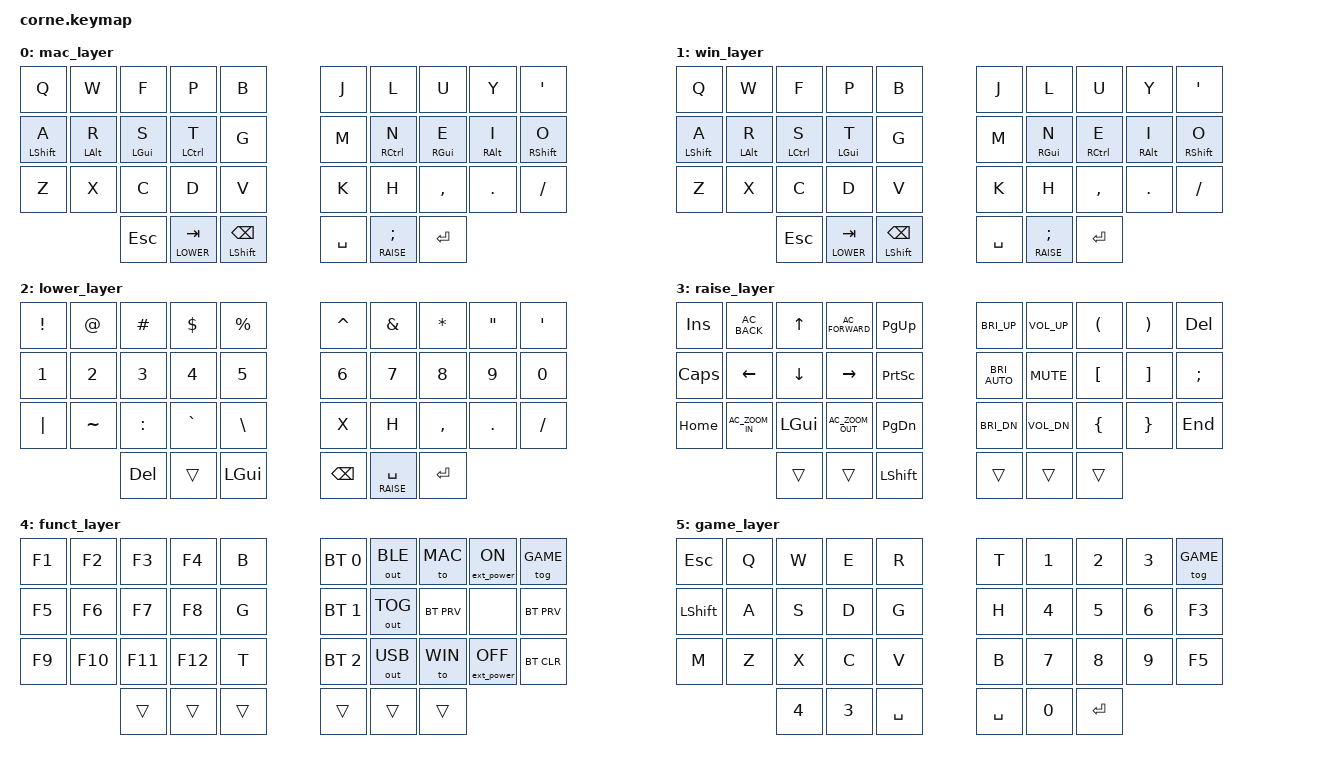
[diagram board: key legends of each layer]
/*
 * Copyright (c) 2020 The ZMK Contributors
 *
 * SPDX-License-Identifier: MIT
 */

#include <behaviors.dtsi>
#include <dt-bindings/zmk/keys.h>
#include <dt-bindings/zmk/bt.h>
#include <dt-bindings/zmk/outputs.h>
#include <dt-bindings/zmk/ext_power.h>

#define COMBO_TIMEOUT 60
#define FAST_COMBO_TIMEOUT 35
// layers
#define MAC   0
#define WIN   1
#define LOWER 2
#define RAISE 3
#define FUNCT 4
#define GAME  5

&mt {
  compatible = "zmk,behavior-hold-tap";
  tapping-term-ms = <100>;
  quick_tap_ms = <200>;
  flavor = "balanced";
};

&lt {
  compatible = "zmk,behavior-hold-tap";
  tapping-term-ms = <125>;
  quick_tap_ms = <200>;
  flavor = "balanced";
};
/ {
  chosen {
    zmk,matrix_transform = &five_column_transform;
  };
};
/ {
    conditional_layers {
        compatible = "zmk,conditional-layers";
        tri_layer {
            if-layers = <LOWER RAISE>;
            then-layer = <FUNCT>;
        };
    };
    behaviors {
        gt_gte: greater_than_gt_equal {
            compatible = "zmk,behavior-mod-morph";
            label = "GT_GTE";
            #binding-cells = <0>;
            bindings = <&kp GT>, <&gte>;
            mods = <(MOD_LSFT|MOD_RSFT)>;
        };
        lt_lte: less_than_lt_equal {
            compatible = "zmk,behavior-mod-morph";
            label = "LT_LTE";
            #binding-cells = <0>;
            bindings = <&kp LT>, <&lte>;
            mods = <(MOD_LSFT|MOD_RSFT)>;
        };
        eq_neq: equal_not_equal {
            compatible = "zmk,behavior-mod-morph";
            label = "EQ_NEQ";
            #binding-cells = <0>;
            bindings = <&kp EQUAL>, <&neq>;
            mods =  <(MOD_LSFT|MOD_RSFT)>;
        };
    };
};
/ {
    macros {
        snap_left: snap_left {
            label = "snap_window_left";
            compatible = "zmk,behavior-macro";
            #binding-cells = <0>;
            bindings
                = <&macro_press &kp LALT>
                , <&macro_press &kp LGUI>
                , <&macro_tap &kp LEFT>
                , <&macro_release &kp LALT>
                , <&macro_release &kp LGUI>
                ;
        };
        snap_right: snap_right {
            label = "snap_window_right";
            compatible = "zmk,behavior-macro";
            #binding-cells = <0>;
            bindings
                = <&macro_press &kp LALT>
                , <&macro_press &kp LGUI>
                , <&macro_tap &kp RIGHT>
                , <&macro_release &kp LALT>
                , <&macro_release &kp LGUI>
                ;
        };
        desktop_left: desktop_left {
            label = "go_desk_left";
            compatible = "zmk,behavior-macro";
            #binding-cells = <0>;
            bindings
                = <&macro_press &kp LCTRL>
                , <&macro_tap &kp LEFT>
                , <&macro_release &kp LCTRL>
                ;
        };
        desktop_right: desktop_right {
            label = "go_desk_right";
            compatible = "zmk,behavior-macro";
            #binding-cells = <0>;
            bindings
                = <&macro_press &kp LCTRL>
                , <&macro_tap &kp RIGHT>
                , <&macro_release &kp LCTRL>
                ;
        };
        lte: lte {
            label = "less_than_equal";
            compatible = "zmk,behavior-macro";
            #binding-cells = <0>;
            bindings
                = <&macro_tap &kp LT>
                , <&macro_tap &kp EQUAL>
                ;
        };
        rptr: rptr {
          label = "right_pointer";
          compatible = "zmk,behavior-macro";
          #binding-cells = <0>;
          bindings 
              = <&macro_release &kp LSFT>
              , <&macro_tap &kp MINUS>
              , <&macro_tap &kp GT>
              ;
        };
        gte: gte {
            label = "greater_than_equal";
            compatible = "zmk,behavior-macro";
            #binding-cells = <0>;
            bindings
                = <&macro_tap &kp GT>
                , <&macro_tap &kp EQUAL>
                ;
        };
        neq: neq {
            label = "not_equal";
            compatible = "zmk,behavior-macro";
            #binding-cells = <0>;
            bindings
                = <&macro_tap &kp EXCL>
                , <&macro_tap &kp EQUAL>
                ;
        };
        peq: peq {
            label = "plus_equals";
            compatible = "zmk,behavior-macro";
            #binding-cells = <0>;
            bindings
                = <&macro_tap &kp PLUS>
                , <&macro_tap &kp EQUAL>
                ;
        };
        trip_quote: trip_quote {
            label = "triple_quote";
            compatible = "zmk,behavior-macro";
            #binding-cells = <0>;
            bindings
                = <&macro_tap &kp DQT>
                , <&macro_tap &kp DQT>
                , <&macro_tap &kp DQT>
                ;
        };
    };
};
/ {
    combos {
        compatible = "zmk,combos";
        combo_equal {
            timeout-ms = <COMBO_TIMEOUT>;
            key-positions = <0 1>;
            bindings = <&eq_neq>;
            layers = <MAC WIN>;
        };
        combo_plus_equal {
            timeout-ms = <COMBO_TIMEOUT>;
            key-positions = <0 1 2>;
            bindings = <&peq>;
            layers = <MAC WIN>;
        };
        combo_tqt {
            timeout-ms = <COMBO_TIMEOUT>;
            key-positions = <7 8 9>;
            bindings = <&trip_quote>;
            layers = <MAC WIN>;
        }; 
        combo_minus {
            timeout-ms = <COMBO_TIMEOUT>;
            key-positions = <8 9>;
            bindings = <&kp MINUS>;
            layers = <MAC WIN>;
        };
        combo_plus {
            timeout-ms = <COMBO_TIMEOUT>;
            key-positions = <1 2>;
            bindings = <&kp PLUS>;
            layers = <MAC WIN>;
        };
        combo_under {
            timeout-ms = <COMBO_TIMEOUT>;
            key-positions = <7 8>;
            bindings = <&kp UNDER>;
            layers = <MAC WIN>;
        };
        combo_home {
            timeout-ms = <COMBO_TIMEOUT>;
            key-positions = <10 20>;
            bindings = <&kp HOME>;
            layers = <MAC WIN>;
        };
        combo_end {
            timeout-ms = <COMBO_TIMEOUT>;
            key-positions = <19 29>;
            bindings = <&kp END>;
            layers = <MAC WIN>;
        };
        combo_caps_word {
            timeout-ms = <COMBO_TIMEOUT>;
            key-positions = <0 10>;
            bindings = <&caps_word>;
            layers = <MAC WIN>;
        };
        combo_del {
            timeout-ms = <COMBO_TIMEOUT>;
            key-positions = <31 32>;
            bindings = <&kp DEL>;  
            layers = <MAC WIN>;
        };
        combo_colon {
            timeout-ms = <COMBO_TIMEOUT>;
            key-positions = <33 34>;
            bindings = <&kp COLON>;  
            layers = <MAC WIN>;
        };
        combo_quote {
            timeout-ms = <COMBO_TIMEOUT>;
            key-positions = <9 19>;
            bindings = <&kp DQT>;
            layers = <MAC WIN>;
        };
        combo_lbrc {
            timeout-ms = <COMBO_TIMEOUT>;
            key-positions = <20 21>;
            bindings = <&kp LBRC>;
            layers = <MAC WIN>;
        };
        combo_rbrc {
            timeout-ms = <FAST_COMBO_TIMEOUT>;
            key-positions = <28 29>;
            bindings = <&kp RBRC>;
            layers = <MAC WIN>;
        };
        combo_lbkt {
            timeout-ms = <COMBO_TIMEOUT>;
            key-positions = <22 23>;
            bindings = <&kp LBKT>;
            layers = <MAC WIN>;
        };
        combo_rbkt {
            timeout-ms = <COMBO_TIMEOUT>;
            key-positions = <26 27>;
            bindings = <&kp RBKT>;
            layers = <MAC WIN>;
        };
        combo_lpar {
            timeout-ms = <COMBO_TIMEOUT>;
            key-positions = <21 22>;
            bindings = <&kp LPAR>;
            layers = <MAC WIN>;
        };
        combo_rpar {
            timeout-ms = <COMBO_TIMEOUT>;
            key-positions = <27 28>;
            bindings = <&kp RPAR>;
            layers = <MAC WIN>;
        };
        combo_dt_right {
            timeout-ms = <COMBO_TIMEOUT>;
            key-positions = <23 24>;
            bindings = <&desktop_right>;
            layers = <MAC>;
        };
        combo_dt_left {
            timeout-ms = <COMBO_TIMEOUT>;
            key-positions = <25 26>;
            bindings = <&desktop_left>;
            layers = <MAC>;
        };
        combo_rptr {
            timeout-ms = <COMBO_TIMEOUT>;
            key-positions = <16 26>;
            bindings = <&rptr>;
            layers = <MAC WIN>;
        };
        combo_lt {
            timeout-ms = <COMBO_TIMEOUT>;
            key-positions = <17 27>;
            bindings = <&kp LT>;
            layers = <MAC WIN>;
        };
        combo_gt {
            timeout-ms = <COMBO_TIMEOUT>;
            key-positions = <18 28>;
            bindings = <&kp GT>;
            layers = <MAC WIN>;
        };
        combo_left {
            timeout-ms = <COMBO_TIMEOUT>;
            key-positions = <11 21>;
            bindings = <&kp LEFT>;
            layers = <MAC WIN>;
        };
        combo_up {
            timeout-ms = <COMBO_TIMEOUT>;
            key-positions = <2 12>;
            bindings = <&kp UP>;
            layers = <MAC WIN>;
        };
        combo_down {
            timeout-ms = <COMBO_TIMEOUT>;
            key-positions = <12 22>;
            bindings = <&kp DOWN>;
            layers = <MAC WIN>;
        };
        combo_right {
            timeout-ms = <COMBO_TIMEOUT>;
            key-positions = <13 23>;
            bindings = <&kp RIGHT>;
            layers = <MAC WIN>;
        };
        combo_b {
            timeout-ms = <COMBO_TIMEOUT>;
            key-positions = <25 26>;
            bindings = <&kp B>;
            layers = <LOWER>;
        };
    };
};
/ {
  behaviors {
    hm: homerow_mods {
      compatible = "zmk,behavior-hold-tap";
      label = "HOMEROW_MODS";
      #binding-cells = <2>;
      flavor = "balanced";
      tapping-term-ms = <175>;
      quick-tap-ms = <125>;
      global-quick-tap;
      bindings = <&kp>, <&kp>;
    };
  };
  keymap {
   compatible = "zmk,keymap";

    mac_layer {
    // -------------------------------------------------------------------------------------
    // |  Q  =  W  +  F  |  P  |  B  |   |  J  |  L  |  U  _  Y  -  '  |
    // |  A  |  R  |  S  |  T  |  G  |   |  M  |  N  |  E  |  I  |  O  |
    // |  Z  [  X  |  C  |  D  |  V  |   |  K  |  H  |  ,  |  .  ]  /  |
    //   | ESC | LWR(TAB) | LSFT(BKSP) |  SPC  |  RSE(;)  | RET |
    bindings = <
      &kp Q       &kp W      &kp F      &kp P       &kp B  &kp J &kp L       &kp U      &kp Y      &kp SQT     
      &hm LSHFT A &hm LALT R &hm LGUI S &hm LCTRL T &kp G  &kp M &hm RCTRL N &hm RGUI E &hm RALT I &hm RSHFT O 
      &kp Z       &kp X      &kp C      &kp D       &kp V  &kp K &kp H       &kp COMMA  &kp DOT    &kp FSLH    
      &kp ESC &lt LOWER TAB &mt LSHFT BKSP &kp SPACE &lt RAISE SEMI &kp RET
      >;
    };
    
    win_layer {
    // -------------------------------------------------------------------------------------
    // |  Q  =  W  +  F  |  P  |  B  |   |  J  |  L  |  U  _  Y  -  '  |
    // |  A  |  R  |  S  |  T  |  G  |   |  M  |  N  |  E  |  I  |  O  |
    // |  Z  [  X  |  C  |  D  |  V  |   |  K  |  H  |  ,  |  .  ]  /  |
    //   | ESC | LWR(TAB) | LSFT(BKSP) |  SPC  |  RSE(;)  | RET |
    bindings = <
      &kp Q       &kp W      &kp F       &kp P      &kp B  &kp J &kp L       &kp U       &kp Y      &kp SQT     
      &hm LSHFT A &hm LALT R &hm LCTRL S &hm LGUI T &kp G  &kp M &hm RGUI N  &hm RCTRL E &hm RALT I &hm RSHFT O 
      &kp Z       &kp X      &kp C       &kp D      &kp V  &kp K &kp H       &kp COMMA   &kp DOT    &kp FSLH    
      &kp ESC &lt LOWER TAB &mt LSHFT BKSP &kp SPACE &lt RAISE SEMI &kp RET
      >;
    };

    lower_layer {
    // -----------------------------------------------------------------------------
    // |  !  |  @  |  #  |  $  |  %  |   |  %  |  &  |  *  |  "  |  '  |
    // |  1  |  2  |  3  |  4  |  5  |   |  6  |  7  |  8  |  9  |  0  |
    // |  |  |  ~  |  :  |  `  |  \  |   |  x  |  h  |  ,  |  .  |  /  |
    //      |  DEL  |  TRANS  |  LGUI  |  BKSP  | MOSPACE |  RET  |
    bindings = <
      &kp EXCL  &kp AT    &kp HASH  &kp DLLR  &kp PRCNT  &kp CARET &kp AMPS  &kp STAR  &kp DQT &kp SQT 
      &kp N1    &kp N2    &kp N3    &kp N4    &kp N5     &kp N6    &kp N7    &kp N8    &kp N9   &kp N0   
      &kp PIPE  &kp TILDE &kp COLON &kp GRAVE &kp BSLH   &kp X     &kp H     &kp COMMA &kp DOT  &kp FSLH 
      &kp DEL    &trans  &kp LGUI &kp BKSP  &lt RAISE SPACE &kp RET
      >;
   };

   raise_layer {
    // -----------------------------------------------------------------------------------------
    // | INS  | BACK |  UP  |  FWD | PGUP |   | BRI+ |  VOL+ | (  |  )  | DEL |
    // | CAPS | LEFT | DOWN | RGHT | PRSC |   | AUTO |  MUTE | [  |  ]  |  ;  |
    // | HOME | Z IN | LGUI | ZOUT | PGDN |   | BRI- |  VOL- | {  |  }  | END |
    //                              |   |   | SHIFT |  |   |
    bindings = <
      &kp INS  &kp C_AC_BACK  &kp UP     &kp C_AC_FORWARD  &kp PG_UP &kp C_BRI_UP   &kp C_VOL_UP &kp LPAR &kp RPAR  &kp DEL  
      &kp CAPS &kp LEFT       &kp DOWN   &kp RIGHT         &kp PSCRN &kp C_BRI_AUTO &kp C_MUTE   &kp LBKT &kp RBKT  &kp SEMI 
      &kp HOME &kp C_AC_ZOOM_IN &kp LGUI &kp C_AC_ZOOM_OUT &kp PG_DN &kp C_BRI_DN   &kp C_VOL_DN &kp LBRC &kp RBRC  &kp END  
      &trans    &trans  &kp LSHFT &trans &trans      &trans
      >;
   };

   funct_layer {
    // -----------------------------------------------------------------------------------------
    // | F1 | F2  | F3  | F4  | B |   | BT1 | BLE     | MAC | EP ON |  LGAME  |
    // | F5 | F6  | F7  | F8  | G |   | BT2 | OUT TOG | BTP |  XXX  |   BTN   |
    // | F9 | F10 | F11 | F12 | T |   | BT3 | USB     | WIN | EPOFF | BLE_RST |
    //            | XXX | XXX | XXX | XXX | XXX | XXX |
    bindings = <
      &kp F1 &kp F2  &kp F3  &kp F4  &kp B &bt BT_SEL 0 &out OUT_BLE &to MAC    &ext_power EP_ON  &tog GAME
      &kp F5 &kp F6  &kp F7  &kp F8  &kp G &bt BT_SEL 1 &out OUT_TOG &bt BT_PRV &none             &bt BT_PRV      
      &kp F9 &kp F10 &kp F11 &kp F12 &kp T &bt BT_SEL 2 &out OUT_USB &to WIN    &ext_power EP_OFF &bt BT_CLR     
      &trans   &trans    &trans  &trans  &trans   &trans
      >;
   };  

   game_layer {
    // -----------------------------------------------------------------------------------------
    // | ESC   | Q | W | E | R |   | T | 1 | 2 | 3 | GAME |
    // | LSHFT | A | S | D | G |   | H | 4 | 5 | 6 |  F3  |
    // | M     | Z | X | C | V |   | B | 7 | 8 | 9 |  F5  |
    //             | 4 | 3 | SPC | SPC | 0 | ENT |
    bindings = <
      &kp ESC   &kp Q &kp W &kp E &kp R &kp T &kp N1 &kp N2 &kp N3 &tog GAME
      &kp LSHFT &kp A &kp S &kp D &kp G &kp H &kp N4 &kp N5 &kp N6 &kp F3 
      &kp M     &kp Z &kp X &kp C &kp V &kp B &kp N7 &kp N8 &kp N9 &kp F5 
      &kp N4          &kp N3      &kp SPACE &kp SPACE  &kp N0       &kp RET
      >;
    };
  };
};
